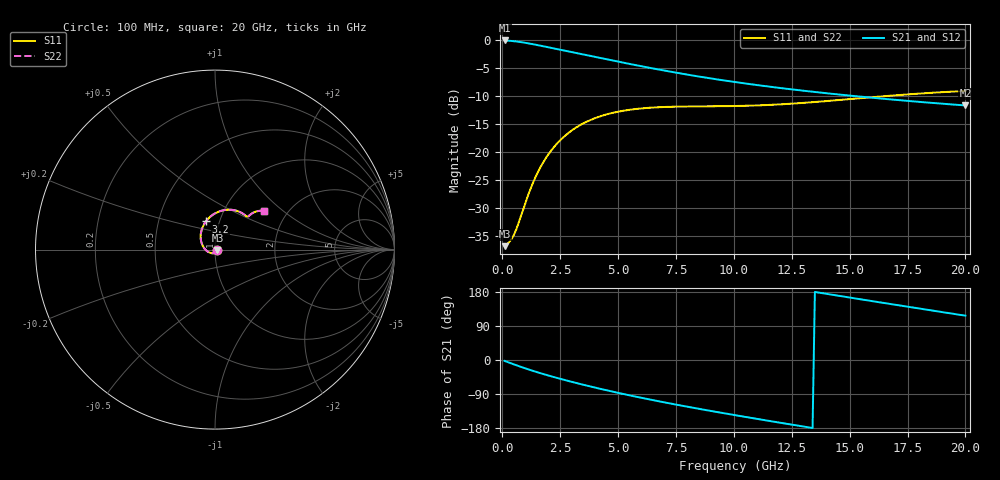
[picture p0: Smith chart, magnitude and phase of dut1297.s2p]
! Touchstone file exported from HFSS 2024.1.0
!  File:  C:/UserFiles/LocalFiles/RDL_TSV_Batchsim/temp_RDL_TSV_1297_1780281115.aedt
!  Generated:  10:46:06 AM Jun  1, 2026
!  Design:  RDL_TSV
!  Project:  temp_RDL_TSV_1297_1780281115
!  Setup:  Setup1
!  Solution:  Sweep
! Variables:
!  dtsv = 13.5um
!  hbump = 3um
!  htsv = 92.69um
!  ldown = 480.58um
!  lrdl = 464.59um
!  p = 40
!  p1 = 57.4um
!  rhole = 10um
!  subl = 3300.1um
!  t = 450um
!  tdown = 2.42um
!  trdl = 4.71um
!  viad = 10um
!  wdown = 29.19um
!  wrdl = 21.68um
!  xbump = 18um
# GHz S MA R 50.000000
! Terminal data exported
! Port[1] = TM1_1_T1
! Port[2] = TM1_4_T1
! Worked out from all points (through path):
!   200 points, 100 MHz to 20 GHz, reference 50 ohm
!   highest |S21| = -0.13 dB at 100 MHz (marker M1); lowest = -11.7 dB at 20 GHz (marker M2)
!   group delay of S21, straight-line fit = 31.6 ps
!   lowest |S11| = -36.9 dB at 100 MHz (marker M3), VSWR 1.03, Z = 51.4 - j0.371 ohm
!   |S11| at or under -10 dB: start of sweep to 16.76 GHz
!   |S22| runs from -36.9 to -9.1 dB; largest |S21 - S12| = 4.9e-14
!   S11 on the Smith chart (normalised r, x): 100 MHz: 1.03, -0.01; 3.2 GHz: 0.86, +0.28; 20 GHz: 1.54, +0.75
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0.1  0.01432 -14.6  0.985 -2.4  0.985 -2.4  0.01432 -14.6
! Gamma 0 0 0 0
! Port Impedance 50 0 50 0
0.3  0.01558 -48.6  0.9794 -7.0  0.9794 -7.0  0.01558 -48.6
0.5  0.01803 -84.4  0.9706 -11.5  0.9706 -11.5  0.01803 -84.4
0.9  0.03047 -141.8  0.9455 -20.1  0.9455 -20.1  0.03048 -141.8
1.3  0.05121 -177.0  0.9141 -28.2  0.9141 -28.2  0.05125 -177.1
1.5  0.06328 170.2  0.8972 -32.1  0.8972 -32.1  0.06335 170.1
1.8  0.08232 154.5  0.8717 -37.6  0.8717 -37.6  0.08242 154.4
2.4  0.1203 130.7  0.8218 -48.0  0.8218 -48.0  0.1205 130.7
3.2  0.1649 108.0  0.7595 -60.8  0.7595 -60.8  0.1651 108.0
3.5  0.179 101.1  0.7375 -65.4  0.7375 -65.4  0.1793 101.1
4.2  0.206 87.7  0.6887 -75.6  0.6887 -75.6  0.2064 87.7
5.1  0.2297 74.5  0.6312 -88.0  0.6312 -88.0  0.2301 74.5
5.9  0.2423 65.6  0.5854 -98.4  0.5854 -98.4  0.2428 65.6
6.8  0.2498 58.1  0.5396 -109.5  0.5396 -109.5  0.2504 58.1
8.4  0.2538 49.8  0.4724 -127.8  0.4724 -127.8  0.2544 49.8
10.1  0.2559 46.0  0.4174 -146.1  0.4174 -146.1  0.2564 46.0
11.7  0.2626 45.0  0.3771 -162.5  0.3771 -162.5  0.263 45.0
13.4  0.2767 44.8  0.3431 -179.5  0.3431 -179.5  0.277 44.7
15.1  0.296 44.0  0.3155 163.8  0.3155 163.8  0.2962 44.0
16.7  0.3155 42.5  0.2938 148.3  0.2938 148.3  0.3157 42.5
18.3  0.3334 40.5  0.2754 133.0  0.2754 133.0  0.3336 40.4
20  0.3486 37.9  0.2588 117.0  0.2588 117.0  0.3488 37.9
